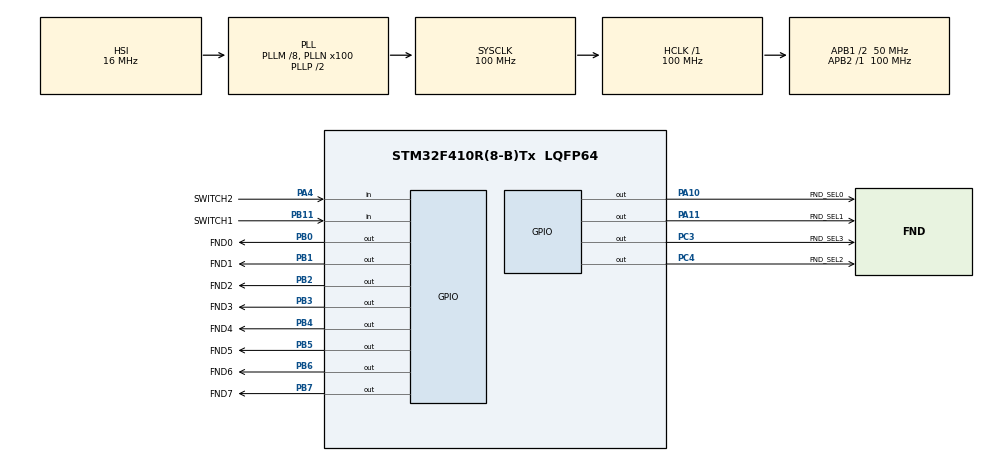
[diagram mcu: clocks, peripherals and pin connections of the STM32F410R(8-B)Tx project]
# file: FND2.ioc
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Mcu.Family=STM32F4
Mcu.Name=STM32F410R(8-B)Tx
Mcu.Package=LQFP64
NVIC.PriorityGroup=NVIC_PRIORITYGROUP_4
PA10.GPIO_Label=FND_SEL0
PA10.Signal=GPIO_Output
PA11.GPIO_Label=FND_SEL1
PA11.Signal=GPIO_Output
PA13.Mode=Serial_Wire
PA13.Signal=SYS_JTMS-SWDIO
PA14.Mode=Serial_Wire
PA14.Signal=SYS_JTCK-SWCLK
PA4.GPIO_Label=SWITCH2
PA4.Signal=GPIO_Input
PB0.GPIO_Label=FND0
PB0.Signal=GPIO_Output
PB1.GPIO_Label=FND1
PB1.Signal=GPIO_Output
PB11.GPIO_Label=SWITCH1
PB11.Signal=GPIO_Input
PB2.GPIO_Label=FND2
PB2.Signal=GPIO_Output
PB3.GPIO_Label=FND3
PB3.Signal=GPIO_Output
PB4.GPIO_Label=FND4
PB4.Signal=GPIO_Output
PB5.GPIO_Label=FND5
PB5.Signal=GPIO_Output
PB6.GPIO_Label=FND6
PB6.Signal=GPIO_Output
PB7.GPIO_Label=FND7
PB7.Signal=GPIO_Output
PC3.GPIO_Label=FND_SEL3
PC3.Signal=GPIO_Output
PC4.GPIO_Label=FND_SEL2
PC4.Signal=GPIO_Output
ProjectManager.HeapSize=0x200
ProjectManager.StackSize=0x400
ProjectManager.TargetToolchain=STM32CubeIDE
RCC.48MHZClocksFreq_Value=50000000
RCC.AHBFreq_Value=100000000
RCC.APB1CLKDivider=RCC_HCLK_DIV2
RCC.APB1Freq_Value=50000000
RCC.APB1TimFreq_Value=100000000
RCC.APB2Freq_Value=100000000
RCC.APB2TimFreq_Value=100000000
RCC.CortexFreq_Value=100000000
RCC.HCLKFreq_Value=100000000
RCC.HSE_VALUE=25000000
RCC.HSI_VALUE=16000000
RCC.LSE_VALUE=32768
RCC.PLLM=8
RCC.PLLN=100
RCC.SYSCLKFreq_VALUE=100000000
RCC.SYSCLKSource=RCC_SYSCLKSOURCE_PLLCLK
RCC.VCOOutputFreq_Value=200000000
board=custom

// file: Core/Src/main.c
/* USER CODE BEGIN Header */
/**
  ******************************************************************************
  * @file           : main.c
  * @brief          : Main program body
  ******************************************************************************
  * @attention
  *
  * Copyright (c) 2022 STMicroelectronics.
  * All rights reserved.
  *
  * This software is licensed under terms that can be found in the LICENSE file
  * in the root directory of this software component.
  * If no LICENSE file comes with this software, it is provided AS-IS.
  *
  ******************************************************************************
  */
/* USER CODE END Header */
#include "main.h"
#include "gpio.h"

/* USER CODE BEGIN Includes */
void FND_Select(int selNum);
void SevenSeg_SetNumber(int num);
void FND_setNumber(int num) ;// 4ms 마다 불려�??�� ?��?��..
/* USER CODE END Includes */

void SystemClock_Config(void);

/* USER CODE BEGIN 0 */
int fndNum=0;
/* USER CODE END 0 */

int main(void)
{

  /* MCU Configuration--------------------------------------------------------*/

  /* Reset of all peripherals, Initializes the Flash interface and the Systick. */
  HAL_Init();

  /* Configure the system clock */
  SystemClock_Config();

  /* Initialize all configured peripherals */
  MX_GPIO_Init();
  /* USER CODE BEGIN 2 */
  //SEL0,1
  //HAL_GPIO_WritePin(GPIOA, GPIO_PIN_10|GPIO_PIN_11, GPIO_PIN_SET);
  // LL_GPIO_WriteOutputPort(GPIOA,LL_GPIO_PIN_10|LL_GPIO_PIN_11);
  //SEL2,3
  //HAL_GPIO_WritePin(GPIOC, GPIO_PIN_3|GPIO_PIN_4, GPIO_PIN_SET);
  // LL_GPIO_WriteOutputPort(GPIOC,LL_GPIO_PIN_3|LL_GPIO_PIN_4);
  //FND 0~7
  //Disp 0
//  HAL_GPIO_WritePin(GPIOB, GPIO_PIN_0|GPIO_PIN_1|GPIO_PIN_2|GPIO_PIN_3
  //                         |GPIO_PIN_4|GPIO_PIN_5, GPIO_PIN_SET);
  //Disp 1
  //  HAL_GPIO_WritePin(GPIOB, GPIO_PIN_1|GPIO_PIN_2, GPIO_PIN_SET);
  /* USER CODE END 2 */

  /* Infinite loop */
  /* USER CODE BEGIN WHILE */
  while (1)
  {
     //FND_setNumber(1234);
	 if(HAL_GPIO_ReadPin(GPIOA,GPIO_PIN_4) ==0) //SWITCH2
	 {
		 fndNum++;
		 if(fndNum>9999)
			 {
			 	 fndNum=9999;
			 }
	 }
	 if(HAL_GPIO_ReadPin(GPIOB, GPIO_PIN_11) ==0) //SWITHCH1
	 {
		 if(fndNum)
			 fndNum--;
	 }
     HAL_Delay(10);
    /* USER CODE END WHILE */

  }
}

void SystemClock_Config(void)
{
  RCC_OscInitTypeDef RCC_OscInitStruct = {0};
  RCC_ClkInitTypeDef RCC_ClkInitStruct = {0};

  /** Configure the main internal regulator output voltage
  */
  __HAL_RCC_PWR_CLK_ENABLE();
  __HAL_PWR_VOLTAGESCALING_CONFIG(PWR_REGULATOR_VOLTAGE_SCALE1);
  /** Initializes the RCC Oscillators according to the specified parameters
  * in the RCC_OscInitTypeDef structure.
  */
  RCC_OscInitStruct.OscillatorType = RCC_OSCILLATORTYPE_HSI;
  RCC_OscInitStruct.HSIState = RCC_HSI_ON;
  RCC_OscInitStruct.HSICalibrationValue = RCC_HSICALIBRATION_DEFAULT;
  RCC_OscInitStruct.PLL.PLLState = RCC_PLL_ON;
  RCC_OscInitStruct.PLL.PLLSource = RCC_PLLSOURCE_HSI;
  RCC_OscInitStruct.PLL.PLLM = 8;
  RCC_OscInitStruct.PLL.PLLN = 100;
  RCC_OscInitStruct.PLL.PLLP = RCC_PLLP_DIV2;
  RCC_OscInitStruct.PLL.PLLQ = 4;
  RCC_OscInitStruct.PLL.PLLR = 2;
  if (HAL_RCC_OscConfig(&RCC_OscInitStruct) != HAL_OK)
  {
    Error_Handler();
  }
  /** Initializes the CPU, AHB and APB buses clocks
  */
  RCC_ClkInitStruct.ClockType = RCC_CLOCKTYPE_HCLK|RCC_CLOCKTYPE_SYSCLK
                              |RCC_CLOCKTYPE_PCLK1|RCC_CLOCKTYPE_PCLK2;
  RCC_ClkInitStruct.SYSCLKSource = RCC_SYSCLKSOURCE_PLLCLK;
  RCC_ClkInitStruct.AHBCLKDivider = RCC_SYSCLK_DIV1;
  RCC_ClkInitStruct.APB1CLKDivider = RCC_HCLK_DIV2;
  RCC_ClkInitStruct.APB2CLKDivider = RCC_HCLK_DIV1;

  if (HAL_RCC_ClockConfig(&RCC_ClkInitStruct, FLASH_LATENCY_3) != HAL_OK)
  {
    Error_Handler();
  }
}

/* USER CODE BEGIN 4 */

void FND_Select(int selNum)
{
    HAL_GPIO_WritePin(GPIOA, GPIO_PIN_10|GPIO_PIN_11, GPIO_PIN_RESET); // SEL ALL OFF
     HAL_GPIO_WritePin(GPIOC, GPIO_PIN_3|GPIO_PIN_4, GPIO_PIN_RESET);
     switch(selNum)
     {
         case 0 : HAL_GPIO_WritePin(GPIOA, GPIO_PIN_10, GPIO_PIN_SET); break;//SEL0 ON
         case 1 : HAL_GPIO_WritePin(GPIOA, GPIO_PIN_11, GPIO_PIN_SET);  break;//SEL1 ON
         case 2 : HAL_GPIO_WritePin(GPIOC, GPIO_PIN_4, GPIO_PIN_SET);break;//SEL2 ON
         case 3 : HAL_GPIO_WritePin(GPIOC, GPIO_PIN_3, GPIO_PIN_SET); break;//SEL3 ON
     }//end of switch
}

void SevenSeg_SetNumber(int num)
{
   HAL_GPIO_WritePin(GPIOB, FND0_Pin|FND1_Pin|FND2_Pin|FND3_Pin|FND4_Pin|FND5_Pin|FND6_Pin|FND7_Pin, GPIO_PIN_RESET);

   switch(num)
   {
      case 0:
         HAL_GPIO_WritePin(GPIOB, FND0_Pin|FND1_Pin|FND2_Pin|FND3_Pin|FND4_Pin|FND5_Pin, GPIO_PIN_SET);
         break;
      case 1:
         HAL_GPIO_WritePin(GPIOB, FND1_Pin|FND2_Pin, GPIO_PIN_SET);
         break;
      case 2:
         HAL_GPIO_WritePin(GPIOB, FND0_Pin|FND1_Pin|FND3_Pin|FND4_Pin|FND6_Pin, GPIO_PIN_SET);
         break;
      case 3:
         HAL_GPIO_WritePin(GPIOB, FND0_Pin|FND1_Pin|FND2_Pin|FND3_Pin|FND6_Pin, GPIO_PIN_SET);
         break;
      case 4:
         HAL_GPIO_WritePin(GPIOB, FND1_Pin|FND2_Pin|FND5_Pin|FND6_Pin, GPIO_PIN_SET);
         break;
      case 5:
         HAL_GPIO_WritePin(GPIOB, FND0_Pin|FND2_Pin|FND3_Pin|FND5_Pin|FND6_Pin, GPIO_PIN_SET);
         break;
      case 6:
         HAL_GPIO_WritePin(GPIOB, FND0_Pin|FND2_Pin|FND3_Pin|FND4_Pin|FND5_Pin|FND6_Pin, GPIO_PIN_SET);
         break;
      case 7:
         HAL_GPIO_WritePin(GPIOB, FND0_Pin|FND1_Pin|FND2_Pin|FND5_Pin, GPIO_PIN_SET);
         break;
      case 8:
         HAL_GPIO_WritePin(GPIOB, FND0_Pin|FND1_Pin|FND2_Pin|FND3_Pin|FND4_Pin|FND5_Pin|FND6_Pin, GPIO_PIN_SET);
         break;
      case 9:
         HAL_GPIO_WritePin(GPIOB, FND0_Pin|FND1_Pin|FND2_Pin|FND5_Pin|FND6_Pin, GPIO_PIN_SET);
         break;
   }
}

void FND_setNumber(int num) // 4ms 마다 불려�??�� ?��?��..
{
#if 0
   static int selNum=0;
    int digit1;
    int digit10;
    int digit100;
    int digit1000;

   selNum++;
   if(selNum>3)
      selNum=0;
   //selNum &=0x3;

   FND_Select(selNum);

   digit1 = num%10;
   digit10 = (num/10)%10;
   digit100 = (num/100)%10;
   digit1000 = (num/1000)%10;

   switch(selNum)
    {
       case 0 : SevenSeg_SetNumber(digit1); break;
       case 1 : SevenSeg_SetNumber(digit10); break;
       case 2 : SevenSeg_SetNumber(digit100); break;
       case 3 : SevenSeg_SetNumber(digit1000); break;
    }//end of switch
#else
   static int selNum=0;
   int digit[4];

   selNum++;
   if(selNum>3)
      selNum=0;
   //selNum &=0x3;
   FND_Select(selNum);
   digit[0] = num%10;
   digit[1] = (num/10)%10;
   digit[2] = (num/100)%10;
   digit[3] = (num/1000)%10;
   SevenSeg_SetNumber(digit[selNum]);

#endif
}

void CheckButtons(void) // 10ms 마다 불려진다
{
   static int sw1ConfirmCnt=0;
   static int sw2ConfirmCnt=0;

   int sw1Status = HAL_GPIO_ReadPin(GPIOB, GPIO_PIN_11);
   int sw2Status = HAL_GPIO_ReadPin(GPIOA, GPIO_PIN_4);

   if(sw2Status ==0 && ++sw2ConfirmCnt > 5  ) //SWITCH2
   {
       fndNum++;
       if(fndNum>9999)
       {
          fndNum =9999;
       }
    }else if(sw2Status==1)
    {
       sw2ConfirmCnt=0;
    }

   if(sw1Status ==0 && ++sw1ConfirmCnt > 5 ) //SWITCH1
   {
         if(fndNum)
            fndNum--;
   }else if(sw1Status ==1)
   {
      sw1ConfirmCnt=0;
   }

}

/* USER CODE END 4 */

void Error_Handler(void)
{
  __disable_irq();
  while (1)
  {
  }
}
